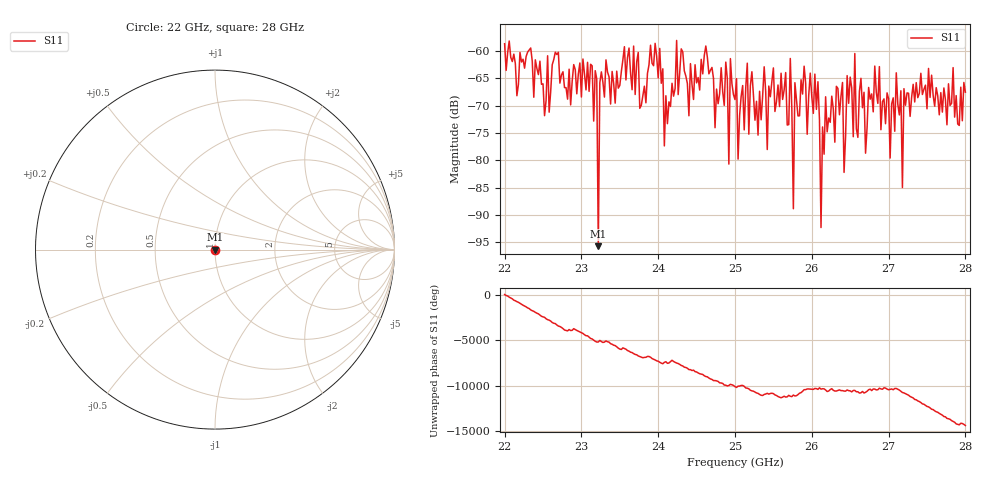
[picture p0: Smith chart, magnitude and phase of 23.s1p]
#  HZ  S  RI  R  50.00
! Rohde & Schwarz ZVA40 4Ports - Version 3.90 - 1145.1110k42 SN: 100403
! Date: 2023-10-04 09:32:34
! Measurement: S12
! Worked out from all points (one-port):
!   301 points, 22 GHz to 28 GHz, reference 50 ohm
!   lowest |S11| = -95.7 dB at 23.22 GHz (marker M1), VSWR 1.00, Z = 50 - j0.000649 ohm
!   |S11| at or under -10 dB: start of sweep to end of sweep
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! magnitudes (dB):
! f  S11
! 22 GHz  -58.7
! 22.76 GHz  -63.8
! 23.18 GHz  -63.6
! 23.22 GHz  -95.7
! 23.26 GHz  -63.8
! 23.5 GHz  -66.3
! 24.26 GHz  -68.0
! 25 GHz  -68.9
! 25.04 GHz  -79.8
! 25.16 GHz  -62.2
! 25.18 GHz  -75.2
! 25.38 GHz  -62.9
! 25.42 GHz  -78.0
! 25.72 GHz  -61.4
! 25.76 GHz  -88.9
! 25.78 GHz  -65.8
! 25.9 GHz  -62.8
! 26.12 GHz  -92.3
! 26.4 GHz  -65.8
! 26.42 GHz  -82.2
! 26.5 GHz  -64.8
! 26.7 GHz  -78.7
! 26.82 GHz  -62.7
! 27.02 GHz  -79.6
! 27.1 GHz  -64.0
! 27.18 GHz  -85.0
! 27.26 GHz  -67.7
! 28 GHz  -67.5
